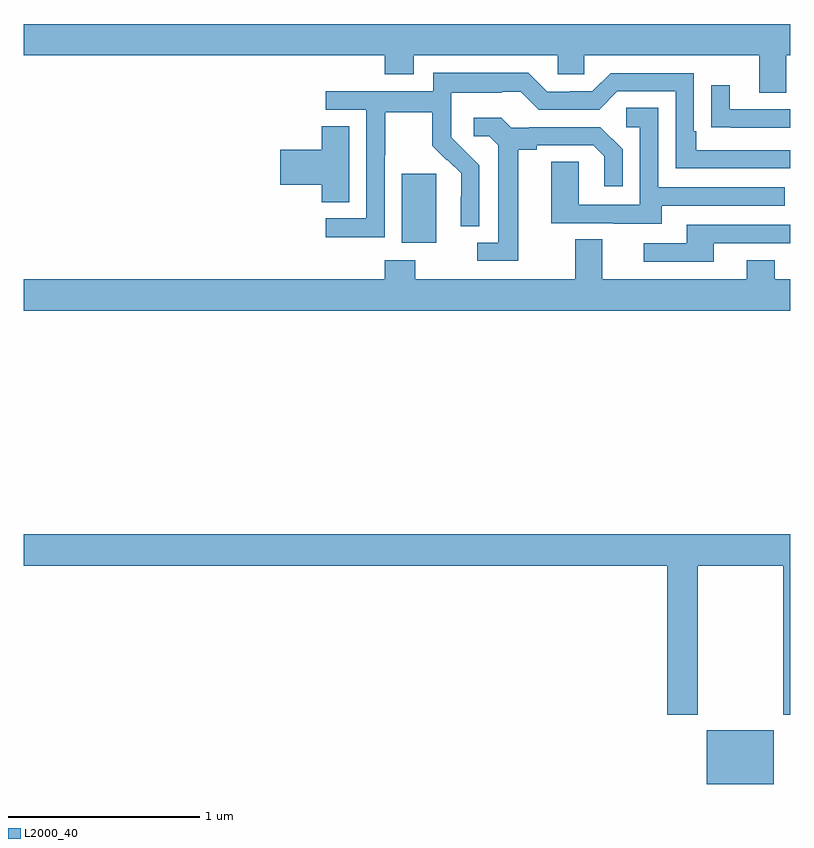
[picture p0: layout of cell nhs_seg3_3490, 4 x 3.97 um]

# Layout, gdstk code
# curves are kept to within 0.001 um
import gdstk
lib = gdstk.Library(unit=1e-6, precision=1e-09)
def R(c, l, rs):  # rectangles x0, y0, x1, y1
    for r in rs: c.add(gdstk.rectangle(r[:2], r[2:], *l))
def P(c, l, *ps):  # polygons
    for p in ps: c.add(gdstk.Polygon(p, *l))
L2000_40 = (2000, 40)

nhs_seg3_3490 = lib.new_cell('nhs_seg3_3490')
R(nhs_seg3_3490, L2000_40, [(294.566,742.4,294.916,742.681), (292.973,745.226,293.152,745.587)])
P(nhs_seg3_3490, L2000_40, [(294.979,746.204),(295,746.204),(295,746.368),(291,746.368),(291,746.204),(292.883,746.204),(292.883,746.105),(293.035,746.105),(293.035,746.204),(293.787,746.204),(293.787,746.106),(293.925,746.106),(293.925,746.204),(294.839,746.204),(294.839,746.01),(294.979,746.01)],
  [(292.884,745.684),(292.887,745.684),(292.887,745.908),(293.131,745.908),(293.131,745.733),(293.208,745.656),(293.211,745.659),(293.282,745.589),(293.282,745.466),(293.28,745.466),(293.28,745.312),(293.376,745.312),(293.376,745.63),(293.23,745.778),(293.23,745.875),(293.232,745.875),(293.232,746.009),(293.495,746.009),(293.495,746.013),(293.595,746.013),(293.688,745.92),(294.003,745.92),(294.099,746.016),(294.402,746.016),(294.402,745.614),(295,745.614),(295,745.71),(294.511,745.71),(294.511,745.807),(294.498,745.807),(294.498,746.112),(294.063,746.112),(293.967,746.016),(293.849,746.016),(293.849,746.013),(293.733,746.013),(293.633,746.113),(293.136,746.113),(293.136,746.016),(292.575,746.016),(292.575,745.92),(292.788,745.92),(292.788,745.353),(292.575,745.353),(292.575,745.255),(292.884,745.255)],
  [(295,745.923),(294.685,745.923),(294.685,746.047),(294.589,746.047),(294.589,745.828),(294.691,745.828),(294.691,745.827),(295,745.827)],
  [(294.331,745.419),(294.971,745.419),(294.971,745.515),(294.312,745.515),(294.312,745.931),(294.144,745.931),(294.144,745.83),(294.216,745.83),(294.216,745.425),(293.898,745.425),(293.898,745.649),(293.753,745.649),(293.753,745.329),(294.077,745.329),(294.077,745.325),(294.331,745.325)],
  [(293.581,745.712),(293.677,745.712),(293.677,745.734),(293.972,745.734),(294.029,745.677),(294.029,745.521),(294.126,745.521),(294.126,745.714),(294.01,745.83),(293.638,745.83),(293.638,745.827),(293.544,745.827),(293.492,745.879),(293.349,745.879),(293.349,745.782),(293.43,745.782),(293.477,745.735),(293.477,745.227),(293.367,745.227),(293.367,745.131),(293.581,745.131)],
  [(292.699,745.835),(292.556,745.835),(292.556,745.712),(292.338,745.712),(292.338,745.529),(292.556,745.529),(292.556,745.438),(292.699,745.438)],
  [(294.601,745.224),(295,745.224),(295,745.32),(294.461,745.32),(294.461,745.224),(294.237,745.224),(294.237,745.128),(294.601,745.128)],
  [(295,745.036),(294.921,745.036),(294.921,745.135),(294.773,745.135),(294.773,745.036),(294.019,745.036),(294.019,745.244),(293.879,745.244),(293.879,745.036),(293.043,745.036),(293.043,745.135),(292.883,745.135),(292.883,745.036),(291,745.036),(291,744.872),(295,744.872)],
  [(294.519,743.54),(294.964,743.54),(294.964,742.761),(295,742.761),(295,743.704),(291,743.704),(291,743.54),(294.359,743.54),(294.359,742.761),(294.519,742.761)])

lib.write_gds('nhs_seg3_3490.gds')
